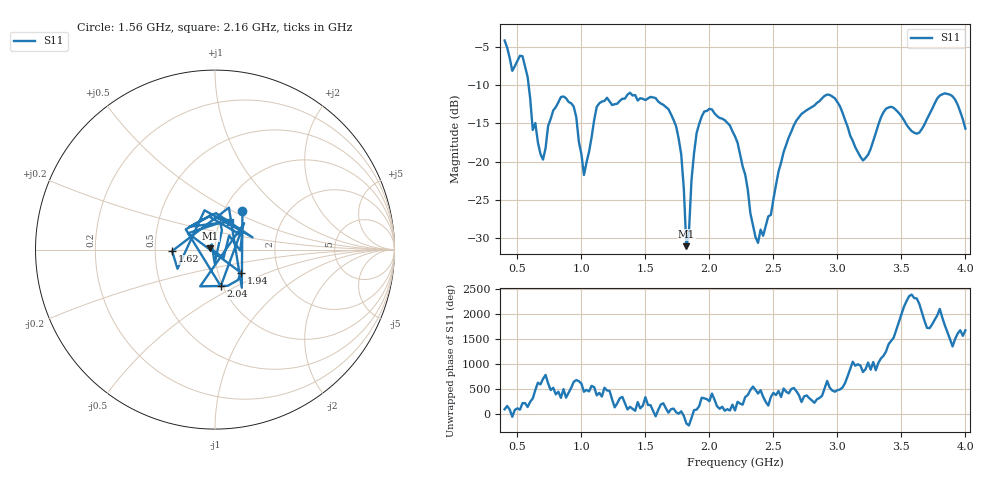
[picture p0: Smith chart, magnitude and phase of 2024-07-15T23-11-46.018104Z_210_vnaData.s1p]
!Created with skrf (http://scikit-rf.org).
# Hz S RI R 50.0
!freq ReS11 ImS11
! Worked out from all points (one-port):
!   181 points, 400 MHz to 4 GHz, reference 50 ohm
!   lowest |S11| = -31.0 dB at 1.82 GHz (marker M1), VSWR 1.06, Z = 47.4 + j0.822 ohm
!   |S11| at or under -10 dB: 587.2 MHz to end of sweep
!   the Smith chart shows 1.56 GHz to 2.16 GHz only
!   S11 on the Smith chart (normalised r, x): 1.56 GHz: 1.22, +0.56; 1.62 GHz: 0.61, -0.01; 1.94 GHz: 1.29, -0.35; 2.04 GHz: 0.98, -0.42; 2.16 GHz: 1.12, +0.35
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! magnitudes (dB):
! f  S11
! 400 MHz  -4.2
! 460 MHz  -8.2
! 540 MHz  -6.3
! 620 MHz  -15.9
! 700 MHz  -19.7
! 860 MHz  -11.5
! 940 MHz  -12.8
! 1.02 GHz  -21.8
! 1.12 GHz  -12.9
! 1.3 GHz  -12.1
! 1.56 GHz  -11.6
! 1.62 GHz  -12.4
! 1.76 GHz  -17.0
! 1.82 GHz  -31.0
! 1.88 GHz  -18.9
! 1.94 GHz  -14.1
! 2.04 GHz  -13.7
! 2.16 GHz  -15.3
! 2.2 GHz  -16.7
! 2.38 GHz  -30.6
! 2.66 GHz  -15.3
! 2.94 GHz  -11.3
! 3.1 GHz  -16.6
! 3.2 GHz  -19.9
! 3.38 GHz  -13.1
! 3.56 GHz  -15.6
! 3.84 GHz  -11.1
! 4 GHz  -15.7
